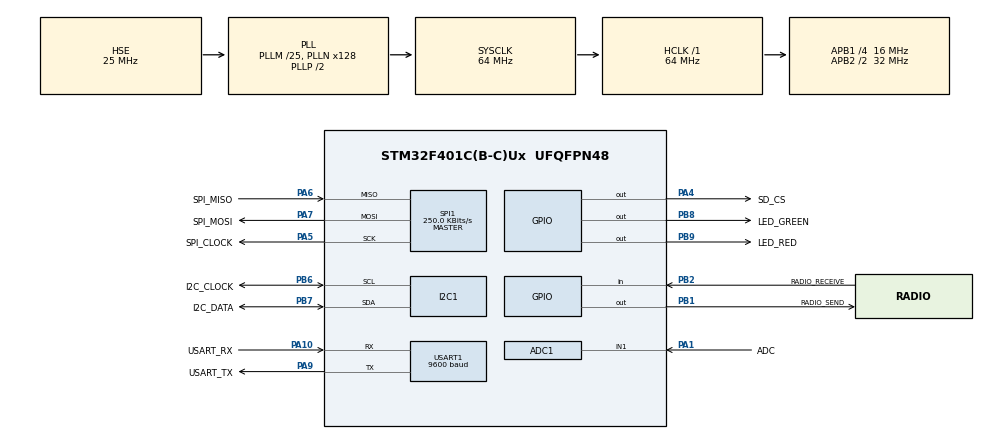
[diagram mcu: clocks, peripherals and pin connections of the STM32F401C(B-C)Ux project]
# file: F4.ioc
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Mcu.Family=STM32F4
PA6.Mode=Full_Duplex_Master
RCC.CortexFreq_Value=64000000
SPI1.VirtualType=VM_MASTER
USART1.BaudRate=9600
PA14.GPIO_Label=SWD_CLOCK
PA6.GPIO_Label=SPI_MISO
PB6.GPIO_Label=I2C_CLOCK
RCC.SYSCLKSource=RCC_SYSCLKSOURCE_PLLCLK
ProjectManager.StackSize=0x400
VP_FREERTOS_VS_CMSIS_V2.Mode=CMSIS_V2
NVIC.ADC_IRQn=true\:5\:0\:false\:true\:true\:2\:true\:true\:true
PH0\ -\ OSC_IN.Signal=RCC_OSC_IN
RCC.RCC_RTC_Clock_Source=RCC_RTCCLKSOURCE_LSI
SPI1.Direction=SPI_DIRECTION_2LINES
RCC.HCLKFreq_Value=64000000
RCC.APB2TimFreq_Value=64000000
PB6.Signal=I2C1_SCL
VP_TIM10_VS_ClockSourceINT.Mode=Enable_Timer
PB6.Mode=I2C
SPI1.CalculateBaudRate=250.0 KBits/s
FREERTOS.configMINIMAL_STACK_SIZE=64
RCC.AHBFreq_Value=64000000
ADC1.Channel-0\#ChannelRegularConversion=ADC_CHANNEL_1
NVIC.TIM1_TRG_COM_TIM11_IRQn=true\:0\:0\:true\:false\:true\:false\:true\:true
RCC.HSE_VALUE=25000000
PB2.Signal=GPIO_Input
PC14-OSC32_IN.Mode=LSE-External-Oscillator
PB1.GPIO_Speed=GPIO_SPEED_FREQ_HIGH
PA14.Mode=Serial_Wire
PB1.GPIO_Label=RADIO_SEND
PA10.GPIO_Label=USART_RX
PB7.Signal=I2C1_SDA
ADC1.SamplingTime-0\#ChannelRegularConversion=ADC_SAMPLETIME_3CYCLES
FREERTOS.configTOTAL_HEAP_SIZE=20000
PB7.GPIO_Label=I2C_DATA
PB9.Signal=GPIO_Output
Mcu.Package=UFQFPN48
PB1.Signal=GPIO_Output
PA6.Signal=SPI1_MISO
NVIC.TimeBase=TIM3_IRQn
NVIC.TimeBaseIP=TIM3
PA10.Signal=USART1_RX
RCC.APB2CLKDivider=RCC_HCLK_DIV2
SH.ADCx_IN1.0=ADC1_IN1,IN1
RCC.APB1TimFreq_Value=32000000
NVIC.USART1_IRQn=true\:0\:0\:true\:true\:true\:1\:false\:true\:true
SPI1.BaudRatePrescaler=SPI_BAUDRATEPRESCALER_128
PA4.GPIO_Label=SD_CS
PA5.Mode=Full_Duplex_Master
RCC.PLLSourceVirtual=RCC_PLLSOURCE_HSE
TIM10.Prescaler=640
PC15-OSC32_OUT.Mode=LSE-External-Oscillator
FREERTOS.Tasks01=defaultTask,24,64,StartDefaultTask,Default,NULL,Dynamic,NULL,NULL;DrawOnOledTask,8,1600,StartDrawing,Default,NULL,Dynamic,NULL,NULL;ActivityTask,8,1024,StartActivityTask,Default,NULL,Dynamic,NULL,NULL;readBattery,8,128,StartReadBattery,Default,NULL,Dynamic,NULL,NULL;rSendTask,40,256,StartRadioSendTask,Default,NULL,Dynamic,NULL,NULL;rReceiveTask,48,1600,StartRadioReceiveTask,Default,NULL,Dynamic,NULL,NULL
ADC1.Rank-0\#ChannelRegularConversion=1
PA7.Mode=Full_Duplex_Master
PB9.GPIO_Label=LED_RED
PA10.Mode=Asynchronous
PA9.GPIO_Label=USART_TX
PH1\ -\ OSC_OUT.Mode=HSE-External-Oscillator
TIM11.Prescaler=64
RCC.APB1CLKDivider=RCC_HCLK_DIV4
PC14-OSC32_IN.Signal=RCC_OSC32_IN
VP_TIM11_VS_ClockSourceINT.Mode=Enable_Timer
PA13.Signal=SYS_JTMS-SWDIO
PB8.GPIO_Label=LED_GREEN
PA9.Mode=Asynchronous
PH0\ -\ OSC_IN.Mode=HSE-External-Oscillator
VP_SYS_VS_tim3.Mode=TIM3
ProjectManager.TargetToolchain=STM32CubeIDE
I2C1.I2C_Mode=I2C_Fast
PA9.Signal=USART1_TX
PC15-OSC32_OUT.Signal=RCC_OSC32_OUT
PA1.Signal=ADCx_IN1
VP_FATFS_VS_Generic.Mode=User_defined
PA5.Signal=SPI1_SCK
PH1\ -\ OSC_OUT.Signal=RCC_OSC_OUT
board=custom
RCC.VCOOutputFreq_Value=128000000
NVIC.TIM3_IRQn=true\:0\:0\:false\:false\:true\:false\:false\:true
TIM11.Period=9
TIM10.Period=99
RCC.APB2Freq_Value=32000000
SPI1.Mode=SPI_MODE_MASTER
PA1.GPIO_Label=ADC
RCC.RCC_RTC_Clock_SourceVirtual=RCC_RTCCLKSOURCE_LSI
PA13.Mode=Serial_Wire
Mcu.Name=STM32F401C(B-C)Ux
PA13.GPIO_Label=SWD_IO
RCC.48MHZClocksFreq_Value=25600000
PA4.Signal=GPIO_Output
RCC.SYSCLKFreq_VALUE=64000000
PA7.GPIO_Label=SPI_MOSI
ADC1.master=1
PA5.GPIO_Label=SPI_CLOCK
USART1.VirtualMode=VM_ASYNC
PB7.Mode=I2C
PA14.Signal=SYS_JTCK-SWCLK
PB2.GPIO_Label=RADIO_RECEIVE
ProjectManager.HeapSize=0x200
NVIC.TIM1_UP_TIM10_IRQn=true\:0\:0\:true\:false\:true\:false\:true\:true
RCC.HSI_VALUE=16000000
RCC.PLLQ=5
NVIC.PriorityGroup=NVIC_PRIORITYGROUP_4
ADC1.NbrOfConversionFlag=1
RCC.PLLM=25
RCC.PLLN=128
PB8.Signal=GPIO_Output
RCC.APB1Freq_Value=16000000
PA7.Signal=SPI1_MOSI

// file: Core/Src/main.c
/* USER CODE BEGIN Header */
/**
 ******************************************************************************
 * @file           : main.c
 * @brief          : Main program body
 ******************************************************************************
 * @attention
 *
 * <h2><center>&copy; Copyright (c) 2021 STMicroelectronics.
 * All rights reserved.</center></h2>
 *
 * This software component is licensed by ST under Ultimate Liberty license
 * SLA0044, the "License"; You may not use this file except in compliance with
 * the License. You may obtain a copy of the License at:
 *                             www.st.com/SLA0044
 *
 ******************************************************************************
 */
/* USER CODE END Header */
#include <sdcard.h>
#include "main.h"
#include "cmsis_os.h"
#include "adc.h"
#include "fatfs.h"
#include "i2c.h"
#include "spi.h"
#include "tim.h"
#include "usart.h"
#include "gpio.h"

/* USER CODE BEGIN Includes */

#include "ssd1306.h"
#include "fonts.h"
#include "gps.h"
#include "test.h"
#include "activity.h"

/* USER CODE END Includes */

/* USER CODE BEGIN PD */

#define TEST 1

/* USER CODE END PD */

void SystemClock_Config(void);
void MX_FREERTOS_Init(void);
static void MX_NVIC_Init(void);

int main(void)
{

  /* MCU Configuration--------------------------------------------------------*/

  /* Reset of all peripherals, Initializes the Flash interface and the Systick. */
  HAL_Init();

  /* Configure the system clock */
  SystemClock_Config();

  /* Initialize all configured peripherals */
  MX_GPIO_Init();
  MX_I2C1_Init();
  MX_SPI1_Init();
  MX_USART1_UART_Init();
  MX_ADC1_Init();
  MX_FATFS_Init();
  MX_TIM10_Init();
  MX_TIM11_Init();

  /* Initialize interrupts */
  MX_NVIC_Init();
  /* USER CODE BEGIN 2 */

	GPS_Init();
	SSD1306_Init();
	SSD1306_Clear();
	SSD1306_UpdateScreen();
	//initialize the SD card and mount it so it can be used
	if(initSdCard())
	{
		HAL_GPIO_WritePin(GPIOB,LED_GREEN_Pin , SET);
		HAL_Delay(500);
		HAL_GPIO_WritePin(GPIOB,LED_GREEN_Pin , RESET);
	} else
	{
		HAL_GPIO_WritePin(GPIOB,LED_RED_Pin , SET);
	}
	__HAL_UART_ENABLE_IT(&huart1, UART_FLAG_RXNE);

	// Enable the ADC interrupt for measuring battery
	__HAL_ADC_ENABLE_IT(&hadc1, ADC_FLAG_EOC);
	HAL_ADC_Start_IT(&hadc1);

	dataTimeCheckFifo();

	#ifdef TEST
	testAll();
	HAL_GPIO_WritePin(GPIOB,LED_GREEN_Pin , SET);

	#if TEST_RADIO == 1
	radioTestAll();
	#endif

	while(1);

	#endif

  /* USER CODE END 2 */

  /* Init scheduler */
  osKernelInitialize();  /* Call init function for freertos objects (in freertos.c) */
  MX_FREERTOS_Init();
  /* Start scheduler */
  osKernelStart();

  /* We should never get here as control is now taken by the scheduler */
  /* Infinite loop */
	while (1)
	{

	}
}

void SystemClock_Config(void)
{
  RCC_OscInitTypeDef RCC_OscInitStruct = {0};
  RCC_ClkInitTypeDef RCC_ClkInitStruct = {0};

  /** Configure the main internal regulator output voltage
  */
  __HAL_RCC_PWR_CLK_ENABLE();
  __HAL_PWR_VOLTAGESCALING_CONFIG(PWR_REGULATOR_VOLTAGE_SCALE2);
  /** Initializes the RCC Oscillators according to the specified parameters
  * in the RCC_OscInitTypeDef structure.
  */
  RCC_OscInitStruct.OscillatorType = RCC_OSCILLATORTYPE_HSE;
  RCC_OscInitStruct.HSEState = RCC_HSE_ON;
  RCC_OscInitStruct.PLL.PLLState = RCC_PLL_ON;
  RCC_OscInitStruct.PLL.PLLSource = RCC_PLLSOURCE_HSE;
  RCC_OscInitStruct.PLL.PLLM = 25;
  RCC_OscInitStruct.PLL.PLLN = 128;
  RCC_OscInitStruct.PLL.PLLP = RCC_PLLP_DIV2;
  RCC_OscInitStruct.PLL.PLLQ = 5;
  if (HAL_RCC_OscConfig(&RCC_OscInitStruct) != HAL_OK)
  {
    Error_Handler();
  }
  /** Initializes the CPU, AHB and APB buses clocks
  */
  RCC_ClkInitStruct.ClockType = RCC_CLOCKTYPE_HCLK|RCC_CLOCKTYPE_SYSCLK
                              |RCC_CLOCKTYPE_PCLK1|RCC_CLOCKTYPE_PCLK2;
  RCC_ClkInitStruct.SYSCLKSource = RCC_SYSCLKSOURCE_PLLCLK;
  RCC_ClkInitStruct.AHBCLKDivider = RCC_SYSCLK_DIV1;
  RCC_ClkInitStruct.APB1CLKDivider = RCC_HCLK_DIV4;
  RCC_ClkInitStruct.APB2CLKDivider = RCC_HCLK_DIV2;

  if (HAL_RCC_ClockConfig(&RCC_ClkInitStruct, FLASH_LATENCY_2) != HAL_OK)
  {
    Error_Handler();
  }
}

/**
  * @brief NVIC Configuration.
  * @retval None
  */
static void MX_NVIC_Init(void)
{
  /* USART1_IRQn interrupt configuration */
  HAL_NVIC_SetPriority(USART1_IRQn, 0, 0);
  HAL_NVIC_EnableIRQ(USART1_IRQn);
  /* ADC_IRQn interrupt configuration */
  HAL_NVIC_SetPriority(ADC_IRQn, 5, 0);
  HAL_NVIC_EnableIRQ(ADC_IRQn);
}

 /**
  * @brief  Period elapsed callback in non blocking mode
  * @note   This function is called  when TIM3 interrupt took place, inside
  * HAL_TIM_IRQHandler(). It makes a direct call to HAL_IncTick() to increment
  * a global variable "uwTick" used as application time base.
  * @param  htim : TIM handle
  * @retval None
  */
void HAL_TIM_PeriodElapsedCallback(TIM_HandleTypeDef *htim)
{
  if (htim->Instance == TIM3) {
    HAL_IncTick();
  }
}

void Error_Handler(void)
{
	__disable_irq();
	while (1)
	{
	}
}

/************************ (C) COPYRIGHT STMicroelectronics *****END OF FILE****/

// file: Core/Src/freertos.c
/* USER CODE BEGIN Header */
/**
 ******************************************************************************
 * File Name          : freertos.c
 * Description        : Code for freertos applications
 ******************************************************************************
 * @attention
 *
 * <h2><center>&copy; Copyright (c) 2021 STMicroelectronics.
 * All rights reserved.</center></h2>
 *
 * This software component is licensed by ST under Ultimate Liberty license
 * SLA0044, the "License"; You may not use this file except in compliance with
 * the License. You may obtain a copy of the License at:
 *                             www.st.com/SLA0044
 *
 ******************************************************************************
 */
/* USER CODE END Header */

#include <sdcard.h>
#include "FreeRTOS.h"
#include "task.h"
#include "main.h"
#include "cmsis_os.h"

/* USER CODE BEGIN Includes */

#include <stdio.h>
#include <stdbool.h>
#include <string.h>
#include <stdlib.h>

#include "ssd1306.h"
#include "fonts.h"
#include "gps.h"
#include "usart.h"
#include "adc.h"
#include "activity.h"
#include "radioAPI.h"

/* USER CODE END Includes */

/* USER CODE BEGIN PD */

#define CALCULATEPERCENTAGE 0
#define CALCULATEVOLTAGE 1
#define printSize 10

/* USER CODE END PD */

/* USER CODE BEGIN Variables */

extern uint16_t ADCValue;
extern GPS_t GPS;
extern Activity_T CurrentActivity;
float batteryPer = 0, batteryVol = 0;

/* USER CODE END Variables */
/* Definitions for defaultTask */
osThreadId_t defaultTaskHandle;
const osThreadAttr_t defaultTask_attributes = {
  .name = "defaultTask",
  .stack_size = 64 * 4,
  .priority = (osPriority_t) osPriorityNormal,
};
/* Definitions for DrawOnOledTask */
osThreadId_t DrawOnOledTaskHandle;
const osThreadAttr_t DrawOnOledTask_attributes = {
  .name = "DrawOnOledTask",
  .stack_size = 1600 * 4,
  .priority = (osPriority_t) osPriorityLow,
};
/* Definitions for ActivityTask */
osThreadId_t ActivityTaskHandle;
const osThreadAttr_t ActivityTask_attributes = {
  .name = "ActivityTask",
  .stack_size = 1024 * 4,
  .priority = (osPriority_t) osPriorityLow,
};
/* Definitions for readBattery */
osThreadId_t readBatteryHandle;
const osThreadAttr_t readBattery_attributes = {
  .name = "readBattery",
  .stack_size = 128 * 4,
  .priority = (osPriority_t) osPriorityLow,
};
/* Definitions for rSendTask */
osThreadId_t rSendTaskHandle;
const osThreadAttr_t rSendTask_attributes = {
  .name = "rSendTask",
  .stack_size = 256 * 4,
  .priority = (osPriority_t) osPriorityHigh,
};
/* Definitions for rReceiveTask */
osThreadId_t rReceiveTaskHandle;
const osThreadAttr_t rReceiveTask_attributes = {
  .name = "rReceiveTask",
  .stack_size = 1600 * 4,
  .priority = (osPriority_t) osPriorityRealtime,
};

/* USER CODE BEGIN FunctionPrototypes */

float calculateBattery(uint8_t whatCalculation);

/* USER CODE END FunctionPrototypes */

void StartDefaultTask(void *argument);
void StartDrawing(void *argument);
void StartActivityTask(void *argument);
void StartReadBattery(void *argument);
void StartRadioSendTask(void *argument);
void StartRadioReceiveTask(void *argument);

void MX_FREERTOS_Init(void); /* (MISRA C 2004 rule 8.1) */

void MX_FREERTOS_Init(void) {

  /* Create the thread(s) */
  /* creation of defaultTask */
  defaultTaskHandle = osThreadNew(StartDefaultTask, NULL, &defaultTask_attributes);

  /* creation of DrawOnOledTask */
  DrawOnOledTaskHandle = osThreadNew(StartDrawing, NULL, &DrawOnOledTask_attributes);

  /* creation of ActivityTask */
  ActivityTaskHandle = osThreadNew(StartActivityTask, NULL, &ActivityTask_attributes);

  /* creation of readBattery */
  readBatteryHandle = osThreadNew(StartReadBattery, NULL, &readBattery_attributes);

  /* creation of rSendTask */
  rSendTaskHandle = osThreadNew(StartRadioSendTask, NULL, &rSendTask_attributes);

  /* creation of rReceiveTask */
  rReceiveTaskHandle = osThreadNew(StartRadioReceiveTask, NULL, &rReceiveTask_attributes);

}

void StartDefaultTask(void *argument)
{
  /* USER CODE BEGIN StartDefaultTask */
	/* Infinite loop */
	for(;;)
	{
		//this task was left here because if we changed it weird things started to happen
		osDelay(1);
	}
  /* USER CODE END StartDefaultTask */
}

void StartDrawing(void *argument)
{
  /* USER CODE BEGIN StartDrawing */
	  /* Infinite loop */
	  for(;;)
	  {
		char numbers[printSize];
		char *currentTime;

		//battery percentage
		SSD1306_GotoXY (0,0);
		sprintf(numbers, "batt: %.0f", batteryPer);
		SSD1306_Puts (numbers, &Font_7x10, 1);

		// active Daily minutes
		SSD1306_GotoXY (80,0);
		SSD1306_Puts ("ADM:", &Font_7x10, 1);

		SSD1306_GotoXY (110, 0);
		sprintf(numbers, "%d", CurrentActivity.activeDailyMinutes);
		SSD1306_Puts(numbers, &Font_7x10, 1);

		//total daily Steps
		SSD1306_GotoXY (80,20);
		SSD1306_Puts ("TDS:", &Font_7x10, 1);

		SSD1306_GotoXY (110, 20);
		sprintf(numbers, "%d", CurrentActivity.totalDailySteps);
		SSD1306_Puts(numbers, &Font_7x10, 1);

		//Current speed in kmph
		SSD1306_GotoXY (0, 25);
		sprintf(numbers, "%.2f", GPS.speed_km);
		SSD1306_Puts(numbers, &Font_11x18, 1);
		SSD1306_GotoXY (50,31);
		SSD1306_Puts ("km/u", &Font_7x10, 1);

		//print the last active minute
		SSD1306_GotoXY (0,10);
		SSD1306_Puts(activityToString(CurrentActivity.lastActiveMinute), &Font_7x10, 1);
		SSD1306_Puts("          ",&Font_7x10, 1);

		//the Activity length
		SSD1306_GotoXY (80,10);
		SSD1306_Puts ("AL:", &Font_7x10, 1);

		SSD1306_GotoXY (110, 10);
		sprintf(numbers, "%d", CurrentActivity.length);
		SSD1306_Puts(numbers, &Font_7x10, 1);

		//the current CET time
		currentTime = getTime();
		SSD1306_GotoXY (0, 45);
		SSD1306_Puts(currentTime, &Font_7x10, 1);

		free(currentTime);

		SSD1306_UpdateScreen();

	    osDelay(1000);
	  }
  /* USER CODE END StartDrawing */
}

void StartActivityTask(void *argument)
{
  /* USER CODE BEGIN StartActivityTask */

	  /* Infinite loop */
	  for(;;)
	  {
		  //get current activity
		  getActivity();

		  //put current activity in the total activity
		  ActivityTotal();

		  osDelay(100);
	  }
  /* USER CODE END StartActivityTask */
}

void StartReadBattery(void *argument)
{
  /* USER CODE BEGIN StartReadBattery */
	/* Infinite loop */
	//read the battery voltage and let the user know by turning on a red LED is the voltage is low.
	//Read the battery every 5 seconds
	  for(;;)
	  {
		batteryPer = calculateBattery(CALCULATEPERCENTAGE);
		if(batteryPer < 20)
		{
			HAL_GPIO_WritePin(GPIOB, GPIO_PIN_9, SET);
		}
		else
		{
			HAL_GPIO_WritePin(GPIOB, GPIO_PIN_9, RESET);
		}
	    osDelay(5000);
	  }
  /* USER CODE END StartReadBattery */
}

void StartRadioSendTask(void *argument)
{
  /* USER CODE BEGIN StartRadioSendTask */

	// This task is unused as of yet

  /* USER CODE END StartRadioSendTask */
}

void StartRadioReceiveTask(void *argument)
{
  /* USER CODE BEGIN StartRadioReceiveTask */

	// Start listening on the receiver
	receiverEnable();

	bool doAck = false;
	char incoming[100];

	for(;;)
	{
		doAck = false;

		// See if there are messages in the queue
		if(receiverCheckMessage())
		{
			// Get the first message from the queue
			receiverPopMessage(incoming);

			// Message is a time request
			if(strncmp(incoming, "t,",2) == 0)
			{
				// First, ACK
				transmitterSendAck();

				char * t = getTime();
				char m[13] = "tt,";
				strcat(m,t);
				free(t);

				osDelay(100);

				transmitterSendBlocking(m);
			}
			// Message is ID + time + gyro z axis
			else if(strncmp(incoming, "z,",2) == 0)
			{
				// Read the contents of the file
				char z = '?';
				unsigned int id,hours,minutes,seconds;
				int gyroZ;
				id = hours = minutes = seconds = 0;
				gyroZ = -1;

				sscanf(incoming,
						"z,%u,%u,%u,%u,%d",
						&id,
						&hours,
						&minutes,
						&seconds,
						&gyroZ
				);

					RadioToBuffer(0, hours, minutes, seconds, gyroZ);
					RadioToBuffer(1, hours, minutes, seconds, gyroZ);

				doAck = true;
			}
			// Message is full accelero/gyro data
			else if(strncmp(incoming, "a,", 2) == 0)
			{
				// Read accelero/gyro data
				int MPUData[6] = {0,0,0,0,0,0};

				sscanf(incoming,
						"a:%d,%d,%d,%d,%d,%d",
						&MPUData[0],
						&MPUData[1],
						&MPUData[2],
						&MPUData[3],
						&MPUData[4],
						&MPUData[5]
				);

				// TODO: Do something with the accelero/gyro data

				doAck = true;
			}
			// Message is a step
			else if(strncmp(incoming, "s,", 2) == 0)
			{
				// TODO: Handle step

				doAck = true;
			}

			// Send an ACK
			if(doAck)
			{
				transmitterSendAck();
			}
		}

		// If there is no delay here, other tasks will never run
		osDelay(100);
	}
  /* USER CODE END StartRadioReceiveTask */
}

/* USER CODE BEGIN Application */

//calculate the battery percentage or voltage
float calculateBattery(uint8_t whatCalculation)
{
	float result = -1.0;
	uint16_t localADC = ADCValue;	//grab the last conversion value
	HAL_ADC_Start_IT(&hadc1);		//start a new conversion already so it's ready for the next time the function is called

	if(whatCalculation == CALCULATEPERCENTAGE)
	{
		result = 71.428571428571 * calculateBattery(CALCULATEVOLTAGE) - 200;
	}
	else if(whatCalculation == CALCULATEVOLTAGE)
	{
		result = (localADC / (float)4095) * 4.2;
	}
	return result;
}

/* USER CODE END Application */

/************************ (C) COPYRIGHT STMicroelectronics *****END OF FILE****/
